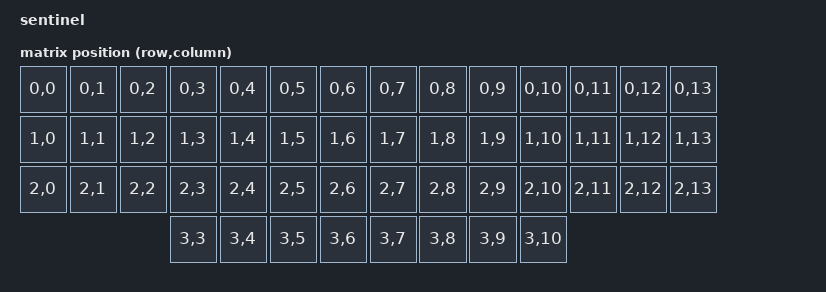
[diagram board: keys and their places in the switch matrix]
/*
 * Copyright (c) 2024 ai03 Design Studio
 *
 * SPDX-License-Identifier: MIT
 */

/dts-v1/;
#include <nordic/nrf52840_qiaa.dtsi>

#include <dt-bindings/led/led.h>
#include <dt-bindings/zmk/matrix_transform.h>

/ {
    model = "sentinel";
    compatible = "ai03_design_studio,sentinel";

    chosen {
        zephyr,code-partition = &code_partition;
        zephyr,sram = &sram0;
        zephyr,flash = &flash0;
        zmk,battery = &vbatt;
        zmk,kscan = &kscan0;
        zmk,matrix_transform = &default_transform;
    };

    default_transform: keymap_transform_0 {
        compatible = "zmk,matrix-transform";
        columns = <14>;
        rows = <4>;
        map = <
            RC(0,0)  RC(0,1)  RC(0,2)  RC(0,3)  RC(0,4)  RC(0,5)  RC(0,6)          RC(0,7)  RC(0,8)  RC(0,9)  RC(0,10) RC(0,11) RC(0,12) RC(0,13)
            RC(1,0)  RC(1,1)  RC(1,2)  RC(1,3)  RC(1,4)  RC(1,5)  RC(1,6)          RC(1,7)  RC(1,8)  RC(1,9)  RC(1,10) RC(1,11) RC(1,12) RC(1,13)
            RC(2,0)  RC(2,1)  RC(2,2)  RC(2,3)  RC(2,4)  RC(2,5)  RC(2,6)          RC(2,7)  RC(2,8)  RC(2,9)  RC(2,10) RC(2,11) RC(2,12) RC(2,13)
                                       RC(3,3)  RC(3,4)  RC(3,5)  RC(3,6)          RC(3,7)  RC(3,8)  RC(3,9)  RC(3,10) 
        >;
    };

    kscan0: kscan {
        compatible = "zmk,kscan-gpio-matrix";
        label = "KSCAN";
        diode-direction = "col2row";
        // Row/Col pinouts defined in per-half .dts files
    };

    aliases {
        led-red = &led0;
        led-green = &led1;
        led-blue = &led2;
    };

    leds {
        compatible = "gpio-leds";
        status = "okay";
        led0: led_0 {
            gpios = <&gpio0 24 GPIO_ACTIVE_LOW>;  // Red LED
        };
        led1: led_1 {
            gpios = <&gpio0 22 GPIO_ACTIVE_LOW>;  // Green LED
        };
        led2: led_2 {
            gpios = <&gpio1 20 GPIO_ACTIVE_LOW>;  // Blue LED
        };
    };

    vbatt: vbatt {
        compatible = "zmk,battery-nrf-vddh";
        label = "BATTERY";
    };

};

&adc {
    status = "okay";
};

&gpiote {
    status = "okay";
};

&gpio0 {
    status = "okay";
};

&gpio1 {
    status = "okay";
};

&usbd {
    status = "okay";
};

&flash0 {
    /*
     * For more information, see:
     * http://docs.zephyrproject.org/latest/devices/dts/flash_partitions.html
     */
    partitions {
        compatible = "fixed-partitions";
        #address-cells = <1>;
        #size-cells = <1>;

        sd_partition: partition@0 {
            label = "mbr";
            reg = <0x00000000 0x00001000>;
        };

        code_partition: partition@1000 {
            label = "code_partition";
            reg = <0x00001000 0x000d3000>;
        };

        /*
         * The flash starting at 0x000d4000 and ending at
         * 0x000f3fff is reserved for use by the application.
         */

        /*
         * Storage partition will be used by FCB/LittleFS/NVS
         * if enabled.
         */
        storage_partition: partition@d4000 {
            label = "storage";
            reg = <0x000d4000 0x00020000>;
        };

        boot_partition: partition@f4000 {
            label = "adafruit_boot";
            reg = <0x000f4000 0x0000c000>;
        };
    };
};
